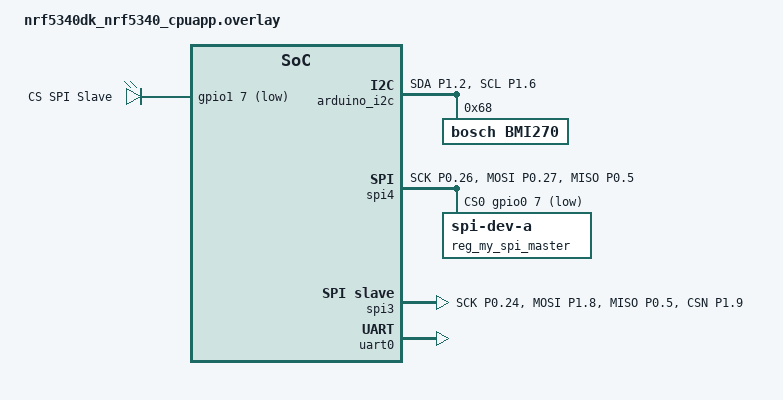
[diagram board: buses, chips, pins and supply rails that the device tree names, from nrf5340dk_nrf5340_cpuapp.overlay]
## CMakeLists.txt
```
#
# Copyright (c) 2021 Bosch Sensortec GmbH
#
# SPDX-License-Identifier: Apache-2.0
#

cmake_minimum_required(VERSION 3.20.0)
find_package(Zephyr REQUIRED HINTS $ENV{ZEPHYR_BASE})
project(bmi270_3)

FILE(GLOB app_sources src/*.c)
target_sources(app PRIVATE ${app_sources})

target_include_directories(app PRIVATE include)
```

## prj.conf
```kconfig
CONFIG_STDOUT_CONSOLE=y
CONFIG_I2C=y
CONFIG_SENSOR=y
CONFIG_CBPRINTF_FP_SUPPORT=y
CONFIG_GPIO=y
CONFIG_LOG=y
CONFIG_LOG_MODE_IMMEDIATE=y


CONFIG_THREAD_NAME=y

CONFIG_LED=y

CONFIG_DK_LIBRARY=y

CONFIG_NRFX_TIMER0=y

CONFIG_BT=y
CONFIG_BT_PERIPHERAL=y
CONFIG_BT_DEVICE_NAME="Gameboy Cartridge"
CONFIG_BT_GATT_CLIENT=y

CONFIG_BT_CENTRAL=y
CONFIG_BT_GATT_DM=y
CONFIG_BT_SCAN=y
CONFIG_BT_SCAN_FILTER_ENABLE=y
CONFIG_BT_SCAN_UUID_CNT=1
CONFIG_BT_MAX_CONN=3

CONFIG_SPI=y
CONFIG_SPI_ASYNC=y

CONFIG_UART_CONSOLE=y
CONFIG_LOG_BACKEND_UART=y


CONFIG_BOARD_ENABLE_DCDC_APP=y
CONFIG_BOARD_ENABLE_DCDC_NET=y
CONFIG_BOARD_ENABLE_DCDC_HV=y

CONFIG_CLOCK_CONTROL_NRF_K32SRC_SYNTH=y
CONFIG_USE_SEGGER_RTT=y
CONFIG_LOG_BACKEND_RTT=y
CONFIG_LOG_BACKEND_RTT_MODE_DROP=y
```

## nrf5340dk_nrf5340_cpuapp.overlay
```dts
&pinctrl {
	spi_master_default: spi_master_default {
		group1 {
			psels = <NRF_PSEL(SPIM_SCK, 0, 26)>,
					<NRF_PSEL(SPIM_MOSI, 0, 27)>,
					<NRF_PSEL(SPIM_MISO, 0,5)>;
		};
	};

	spi_master_sleep: spi_master_sleep {
		group1 {
			psels = <NRF_PSEL(SPIM_SCK, 0, 26)>,
					<NRF_PSEL(SPIM_MOSI, 0, 27)>,
					<NRF_PSEL(SPIM_MISO, 0,5)>;
			low-power-enable;
		};
	};

	spi_slave_default: spi_slave_default {
		group1 {
			psels = <NRF_PSEL(SPIS_SCK, 0, 24)>,
					<NRF_PSEL(SPIS_MOSI, 1, 8)>,
					<NRF_PSEL(SPIS_MISO, 0, 5)>,
					<NRF_PSEL(SPIS_CSN, 1, 9)>;
		};
	};

	spi_slave_sleep: spi_slave_sleep {
		group1 {
			psels = <NRF_PSEL(SPIS_SCK, 0, 24)>,
					<NRF_PSEL(SPIS_MOSI, 1, 8)>,
					<NRF_PSEL(SPIS_MISO, 0, 5)>,
					<NRF_PSEL(SPIS_CSN, 1, 9)>;
			low-power-enable;
		};
	};

	bmi_i2c: bmi_i2c {
		group1 {
			psels = <NRF_PSEL(TWIM_SDA, 1, 2)>,
					<NRF_PSEL(TWIM_SCL, 1, 6)>;
		};
	};

	bmi_i2c_sleep: bmi_i2c_sleep {
		group1 {
			psels = <NRF_PSEL(TWIM_SDA, 1, 2)>,
					<NRF_PSEL(TWIM_SCL, 1, 6)>;
			low-power-enable;
		};
	};
};

&arduino_i2c {
	status = "okay";
	pinctrl-0 = <&bmi_i2c>;
	pinctrl-1 = <&bmi_i2c_sleep>;
	zephyr,concat-buf-size = <257>;
	bmi270@68 {
		compatible = "bosch,bmi270";
		reg = <0x68>;
	};
};

my_spi_master: &spi4 {
	compatible = "nordic,nrf-spim";
	status = "okay";
	pinctrl-0 = <&spi_master_default>;
	pinctrl-1 = <&spi_master_sleep>;
	pinctrl-names = "default", "sleep";
	cs-gpios = <&gpio0 7 GPIO_ACTIVE_LOW>;
	reg_my_spi_master:  spi-dev-a@0 {
		reg = <0>;
	};
};

my_spi_slave: &spi3 {
	compatible = "nordic,nrf-spis";
	status = "okay";
	pinctrl-0 = <&spi_slave_default>;
	pinctrl-1 = <&spi_slave_sleep>;
	pinctrl-names = "default", "sleep";
	def-char = <0x00>;
};

led0: &led0 {
	gpios = <&gpio1 7  GPIO_ACTIVE_LOW>;
	label = "CS SPI Slave";
};

qspi: &qspi {
	status = "disabled";
};

uart0: &uart0 {
	status = "okay";
};
```

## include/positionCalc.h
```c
#include <zephyr/kernel.h>
#include <zephyr/device.h>
#include <zephyr/drivers/sensor.h>
#include <zephyr/drivers/gpio.h>
#include <stdio.h>
#include <math.h>
#include <stdbool.h>
#include <nrfx_timer.h>

#include <zephyr/types.h>
#include <zephyr/bluetooth/bluetooth.h>
#include <zephyr/bluetooth/uuid.h>
#include <zephyr/bluetooth/gatt.h>
#include <zephyr/bluetooth/hci.h>
#include <bluetooth/gatt_dm.h>
#include <bluetooth/scan.h>

#include <stdlib.h>

#include <zephyr/logging/log.h>

#include <zephyr/drivers/spi.h>

#ifndef BMI270_THINGS_H
#define BMI270_THINGS_H

extern float tiltValue;

extern bool nanFlag;

int SetSensorParam(void);

int ObtainPosition(void);

long map(float x, float in_min, float in_max, float out_min, float out_max);

#endif
```

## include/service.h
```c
#include <zephyr/types.h>
#include <zephyr/bluetooth/conn.h>
#include <zephyr/bluetooth/uuid.h>
#include <zephyr/bluetooth/gatt.h>
#include <bluetooth/gatt_dm.h>
/*
This code is loosely based on nus.h and nus_client.h
https://github.com/nrfconnect/sdk-nrf/blob/main/include/bluetooth/services/nus.h
https://github.com/nrfconnect/sdk-nrf/blob/main/include/bluetooth/services/nus_client.h
*/

#ifndef BT_SERVICE_H
#define BT_SERVICE_H

#define BT_UUID_SERVICE_VAL \
    BT_UUID_128_ENCODE(0xdea2ef30,0x9fb4,0x494c,0x9070,0xfd2e40ab523b)
#define BT_UUID_CHRC_TX_VAL \
    BT_UUID_128_ENCODE(0xdea2ef31,0x9fb4,0x494c,0x9070,0xfd2e40ab523b)

#define BT_UUID_CHRC_RX_VAL \
    BT_UUID_128_ENCODE(0xdea2ef32,0x9fb4,0x494c,0x9070,0xfd2e40ab523b)


#define BT_UUID_GB_SERVICE    BT_UUID_DECLARE_128(BT_UUID_SERVICE_VAL)
#define BT_UUID_GB_ATTR_TX BT_UUID_DECLARE_128(BT_UUID_CHRC_TX_VAL)
#define BT_UUID_GB_ATTR_RX BT_UUID_DECLARE_128(BT_UUID_CHRC_RX_VAL)


enum bt_gb_send_status {
	BT_GB_SEND_STATUS_ENABLED,
	BT_GB_SEND_STATUS_DISABLED,
};


//structure used for defining callbacks for peripheral
struct bt_cb {
    void (*received)(struct bt_conn *conn, const uint16_t *const data, uint16_t len);
    void (*sent)(struct bt_conn *conn);
    void (*send_enabled)(enum bt_gb_send_status status);
};

struct bt_gb_client;
//structure used for defining callbacks for central
struct bt_gb_client_cb {
    uint8_t (*received)(struct bt_gb_client *gb, const uint16_t *data, uint16_t len);
    void (*sent)(struct bt_gb_client *gb, uint8_t err, const uint16_t *data, uint16_t len);
    void (*unsubscribed)(struct bt_gb_client *gb);
};
//strucuture used in handle assign process
struct bt_gb_client_handles {

	uint16_t rx;
    uint16_t tx;
	uint16_t tx_ccc;
};

struct bt_gb_client_init_param {
	struct bt_gb_client_cb cb;
};
//structure used in bluetooth central carrying information about attributes on the connected service
struct bt_gb_client {
    struct bt_conn *conn;
    atomic_t state;
    struct bt_gb_client_handles handles;
    struct bt_gatt_subscribe_params tx_notif_params;
    struct bt_gatt_write_params rx_write_params;
    struct bt_gb_client_cb cb;
};
//protoypes of functions in service.c
int bt_gb_init(struct bt_cb *callbacks);

int bt_gb_client_init(struct bt_gb_client *gb, const struct bt_gb_client_init_param *gb_init);

int bt_gb_send(struct bt_conn *conn, const uint16_t *data, uint16_t len);

int bt_gb_write(struct bt_gb_client *gb, const uint16_t *data, uint16_t len);

int bt_gb_handles_assign(struct bt_gatt_dm *dm, struct bt_gb_client *gb);

int bt_gb_subscribe_receive(struct bt_gb_client *gb);

#endif
```

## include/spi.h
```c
#include <zephyr/kernel.h>
#include <zephyr/device.h>
#include <zephyr/drivers/sensor.h>
#include <zephyr/drivers/gpio.h>
#include <stdio.h>
#include <math.h>
#include <stdbool.h>
#include <nrfx_timer.h>

#include <zephyr/types.h>
#include <zephyr/bluetooth/bluetooth.h>
#include <zephyr/bluetooth/uuid.h>
#include <zephyr/bluetooth/gatt.h>
#include <zephyr/bluetooth/hci.h>
#include <bluetooth/gatt_dm.h>
#include <bluetooth/scan.h>

#include <stdlib.h>

#include <zephyr/logging/log.h>

#include <zephyr/drivers/spi.h>

#ifndef SPI_H
#define SPI_H

void spi_init(void);

int spi_write_test_msg(uint8_t ValToSend);

#endif
```

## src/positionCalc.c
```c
#include <zephyr/kernel.h>
#include <zephyr/device.h>
#include <zephyr/drivers/sensor.h>
#include <zephyr/drivers/gpio.h>
#include <stdio.h>
#include <math.h>
#include <stdbool.h>
#include <nrfx_timer.h>
#include "../include/service.h"
#include "../include/spi.h"

#include <zephyr/types.h>
#include <zephyr/bluetooth/bluetooth.h>
#include <zephyr/bluetooth/uuid.h>
#include <zephyr/bluetooth/gatt.h>
#include <zephyr/bluetooth/hci.h>
#include <bluetooth/gatt_dm.h>
#include <bluetooth/scan.h>

#include <stdlib.h>

#include <zephyr/logging/log.h>

#include <zephyr/drivers/spi.h>

/*
* C file for reading and modifying the values from the BMI270
* Initiates the device, reads gyro and accelormeter, then converts it to one of 9
* D-pad direction represented by numbers between 0-10
* Code built upon https://github.com/zephyrproject-rtos/zephyr/tree/main/samples/sensor/bmi270
*/

#define LOG_MODULE_NAME BMI270_things
LOG_MODULE_REGISTER(LOG_MODULE_NAME, LOG_LEVEL_INF);

#define Gravity_const 9.81f

#define Math_Pi 3.14159265358979323846f

#define COMP_FILT_ALPHA 0.05f

#define Sampletime 10.0f

#define MIN_TILT 2.0f

#define MAX_TILT 0.0f

#define MIN_ANGLE 0.2f

#define MAX_ANGLE 1.3f

float phiHat = 0.0f;
float thetaHat = 0.0f;

float tiltValue = MIN_TILT;

bool nanFlag = false;

const struct device *const dev = DEVICE_DT_GET_ONE(bosch_bmi270);
struct sensor_value acc[3], gyr[3];
struct sensor_value full_scale, sampling_freq, oversampling;

//standard arduino map
float map(float x, float in_min, float in_max, float out_min, float out_max)
{
        return (x - in_min) * (out_max - out_min) / (in_max - in_min) + out_min;
}


//convert area of sixe 4 to single uint_8t
int SearchArray(float array[]){
        uint8_t pos=0;
        for(int i = 0; i < 4; i++)
        {
                if(array[i] !=0)
                {
                        pos |= (1 << i);
                        tiltValue = map(array[i],MIN_ANGLE,MAX_ANGLE,MIN_TILT,MAX_TILT);
                }
        }
        return pos;
}

//Converts the phi and theta values calculated to an array representing the
// 4 D-pad directions on the GB
int ConvertToNESW(float phi,float theta)
{
        if (phi > MAX_ANGLE)
        {
                phi = MAX_ANGLE;
        }
        if (phi < -MAX_ANGLE)
        {
                phi = -MAX_ANGLE;
        }
        if (theta > MAX_ANGLE)
        {
                theta = MAX_ANGLE;
        }
        if (theta < -MAX_ANGLE)
        {
                theta = -MAX_ANGLE;
        }

        float N;
        float E;
        float S;
        float W;

        float array[4] = {0.0f, 0.0f, 0.0f, 0.0f};

        if (phi > MIN_ANGLE && fabs(theta) < MIN_ANGLE)
        {
                N = fabs(phi);
                S = 0.0f;
                E = 0.0f;
                W = 0.0f;
        }
        else if(phi < -MIN_ANGLE && fabs(theta) < MIN_ANGLE)
        {
                N=0.0f;
                S = fabs(phi);
                E = 0.0f;
                W = 0.0f;
        }
        else if (theta > MIN_ANGLE && fabs(phi) < MIN_ANGLE)
        {
                N = 0.0f;
                S = 0.0f;
                E = fabs(theta);
                W = 0.0f;
        }
        else if (theta < -MIN_ANGLE && fabs(phi) < MIN_ANGLE)
        {
                N = 0.0f;
                S = 0.0f;
                E = 0.0f;
                W = fabs(theta);
        }


        else if (theta < -MIN_ANGLE && phi < -MIN_ANGLE)
        {
                N = 0.0f;
                S = fabs(phi);
                E = 0.0f;
                W = fabs(theta);
        }
        else if (theta < -MIN_ANGLE && phi > MIN_ANGLE)
        {
                N = fabs(phi);
                S = 0.0f;
                E = 0.0f;
                W = fabs(theta);
        }
        else if (theta > MIN_ANGLE && phi < -MIN_ANGLE)
        {
                N = 0.0f;
                S = fabs(phi);
                E = fabs(theta);
                W = 0.0f;
        }
        else if (theta > MIN_ANGLE && phi > MIN_ANGLE)
        {
                N = fabs(phi);
                S = 0.0f;
                E = fabs(theta);
                W = 0.0f;
        }
        else
        {
                N = 0.0f;
                S = 0.0f;
                E = 0.0f;
                W = 0.0f;
        }

        array[0] = W;
        array[1] = E;
        array[2] = S;
        array[3] = N; 

        return SearchArray(array);
}

//Initiates the BMI270
int SetSensorParam(void)
{
	if (!device_is_ready(dev)) {
		LOG_INF("Device %s is not ready\n", dev->name);
		return 0;
	}

	/* Setting scale in G, due to loss of precision if the SI unit m/s^2
	 * is used
	 */
	full_scale.val1 = 2;            /* G */
	full_scale.val2 = 0;
	sampling_freq.val1 = 100;       /* Hz. Performance mode */
	sampling_freq.val2 = 0;
	oversampling.val1 = 1;          /* Normal mode */
	oversampling.val2 = 0;

	sensor_attr_set(dev, SENSOR_CHAN_ACCEL_XYZ, SENSOR_ATTR_FULL_SCALE,
			&full_scale);
	sensor_attr_set(dev, SENSOR_CHAN_ACCEL_XYZ, SENSOR_ATTR_OVERSAMPLING,
			&oversampling);
	/* Set sampling frequency last as this also sets the appropriate
	 * power mode. If already sampling, change to 0.0Hz before changing
	 * other attributes
	 */
	sensor_attr_set(dev, SENSOR_CHAN_ACCEL_XYZ,
			SENSOR_ATTR_SAMPLING_FREQUENCY,
			&sampling_freq);


	/* Setting scale in degrees/s to match the sensor scale */
	full_scale.val1 = 500;          /* dps */
	full_scale.val2 = 0;
	sampling_freq.val1 = 100;       /* Hz. Performance mode */
	sampling_freq.val2 = 0;
	oversampling.val1 = 1;          /* Normal mode */
	oversampling.val2 = 0;

	sensor_attr_set(dev, SENSOR_CHAN_GYRO_XYZ, SENSOR_ATTR_FULL_SCALE,
			&full_scale);
	sensor_attr_set(dev, SENSOR_CHAN_GYRO_XYZ, SENSOR_ATTR_OVERSAMPLING,
			&oversampling);
	/* Set sampling frequency last as this also sets the appropriate
	 * power mode. If already sampling, change sampling frequency to
	 * 0.0Hz before changing other attributes
	 */
	sensor_attr_set(dev, SENSOR_CHAN_GYRO_XYZ,
			SENSOR_ATTR_SAMPLING_FREQUENCY,
			&sampling_freq);
}

/7Reads data fro the BMI270 and converts using a complementary filter
int ObtainPosition(void)
{
        sensor_sample_fetch(dev);

        sensor_channel_get(dev, SENSOR_CHAN_ACCEL_XYZ, acc);
        sensor_channel_get(dev, SENSOR_CHAN_GYRO_XYZ, gyr);

        //conversion formula from sensor.h definition
        float ax = (acc[0].val1+acc[0].val2*1e-6);
        float ay = (acc[1].val1+acc[1].val2*1e-6);
        float az = (acc[2].val1+acc[2].val2*1e-6);

        //to ensure no Nan's being produced by atanf and asinf
        if(ax <= -9.80)
        {
                ax = -9.80;
        }
        if(ax >= 9.80)
        {
                ax = 9.80;
        }

        if(az == 0)
        {
                az = 0.01;
        }
        //Estimation of the angle using the accelerometer values
        //Theoretical proof and code from https://www.youtube.com/watch?v=BUW2OdAtzBw

        float phiHat_acc_g = atanf(ay/az);
        float thetaHat_acc_g = asinf(ax/Gravity_const);

	 //to ensure no Nan's being produced by tanf
        if(thetaHat_acc_g >= Math_Pi/2)
        {
                thetaHat_acc_g = Math_Pi/2-0.007f;
        }

        if(thetaHat_acc_g <= -Math_Pi/2)
        {
                thetaHat_acc_g = -Math_Pi/2+0.007f;
        }

        //Gyroscope values
        float gx = (gyr[0].val1+gyr[0].val2*1e-6);
        float gy = (gyr[1].val1+gyr[1].val2*1e-6);
        float gz = (gyr[2].val1+gyr[2].val2*1e-6);


        float phiDot_rps = gx + tanf(thetaHat_acc_g) * (sinf(phiHat_acc_g) * gy + cosf(phiHat_acc_g) * gz);
        float thetaDot_rps = cosf(phiHat_acc_g) * gy - sinf(phiHat_acc_g) * gz;

        //Complementary filter
        phiHat = COMP_FILT_ALPHA * phiHat_acc_g + (1.0f - COMP_FILT_ALPHA) * (phiHat + (Sampletime / 1000.0f) * phiDot_rps);
        thetaHat = COMP_FILT_ALPHA * thetaHat_acc_g + (1.0f - COMP_FILT_ALPHA) * (thetaHat + (Sampletime/1000.0f) * thetaDot_rps);

        if (isnan(phiHat) || isnan(thetaHat))
        {
                nanFlag = true;
        }
        return ConvertToNESW(phiHat,thetaHat);
                           
}
```

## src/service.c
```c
#include <zephyr/bluetooth/conn.h>
#include <zephyr/bluetooth/uuid.h>
#include <zephyr/bluetooth/gatt.h>
#include <bluetooth/gatt_dm.h>
#include "../include/service.h"
#include <zephyr/logging/log.h>
#include <zephyr/kernel.h>
#include <zephyr/device.h>
#include <zephyr/drivers/sensor.h>
#include <zephyr/drivers/gpio.h>
#include <stdio.h>
#include <math.h>
#include <stdbool.h>
#include <nrfx_timer.h>
/*
This file includes the bluetooth code not included in main.c
The code is loosely based on Nordic NUS library, nus.c and nus_client.c
https://github.com/nrfconnect/sdk-nrf/blob/main/subsys/bluetooth/services/nus.c
https://github.com/nrfconnect/sdk-nrf/blob/main/subsys/bluetooth/services/nus_client.c
*/
LOG_MODULE_REGISTER(bt_gb, LOG_LEVEL_INF);

static struct bt_cb gb_cb;

enum {
	GB_C_INITIALIZED,
	GB_C_TX_NOTIF_ENABLED,
	GB_C_RX_WRITE_PENDING
};


//callback function for received data on central
static uint8_t on_received(struct bt_conn *conn, struct bt_gatt_subscribe_params *params, const void *data, uint16_t length)
{
    struct bt_gb_client *gb;
    
    gb = CONTAINER_OF(params, struct bt_gb_client, tx_notif_params);

    if (!data) {
        LOG_DBG("Unsubscribed");
        params->value_handle = 0;
        atomic_clear_bit(&gb->state, GB_C_TX_NOTIF_ENABLED);
        if (gb->cb.unsubscribed) {
            gb->cb.unsubscribed(gb);
        }
        return BT_GATT_ITER_STOP;
    }
    LOG_DBG("notification data %p length %u", data, length);
    if (gb->cb.received) {
        return gb->cb.received(gb, data, length);
    }

    return BT_GATT_ITER_CONTINUE;
}
//
static void gb_ccc_cfg_changed(const struct bt_gatt_attr *attr, 
                                            uint16_t value)
{
    if(gb_cb.send_enabled){
        LOG_DBG("Notification has been turned on %s", value = BT_GATT_CCC_NOTIFY ? "on" : "off");
        gb_cb.send_enabled(value == BT_GATT_CCC_NOTIFY ?
			BT_GB_SEND_STATUS_ENABLED : BT_GB_SEND_STATUS_DISABLED);
    }
}
//callback function for receive on peripheral
static ssize_t on_receive(struct bt_conn *conn,
			  const struct bt_gatt_attr *attr,
			  const void *buf,
			  uint16_t len,
			  uint16_t offset,
			  uint8_t flags)
{
	LOG_INF("Received data, handle %d, conn %p",
		attr->handle, (void *)conn);

	if (gb_cb.received) {
		gb_cb.received(conn, buf, len);
}
	return len;
}
//callback function for send on peripheral
static void on_sent(struct bt_conn *conn, void *user_data)
{
    LOG_DBG("Data send, conn %p", (void *)conn);

    if(gb_cb.sent){
        gb_cb.sent(conn);
    }
}
//callback function for write operation for central.
static void on_write(struct bt_conn *conn, uint8_t err, struct bt_gatt_write_params *params)
{
    struct bt_gb_client *gb;
    const void *data;
    uint16_t length;

    gb = CONTAINER_OF(params, struct bt_gb_client, rx_write_params);

    data = params->data;
    length = params->length;

    atomic_clear_bit(&gb->state, GB_C_RX_WRITE_PENDING);
    if (gb->cb.sent) {
        gb->cb.sent(gb, err, data, length);
    }
}

//Service definition
BT_GATT_SERVICE_DEFINE(gameboy_service,
BT_GATT_PRIMARY_SERVICE(BT_UUID_GB_SERVICE),
        BT_GATT_CHARACTERISTIC(BT_UUID_GB_ATTR_TX,
                               BT_GATT_CHRC_NOTIFY,
                               BT_GATT_PERM_READ,
                               NULL, NULL, NULL),
        BT_GATT_CCC(gb_ccc_cfg_changed,
                    BT_GATT_PERM_READ | BT_GATT_PERM_WRITE),
        BT_GATT_CHARACTERISTIC(BT_UUID_GB_ATTR_RX,
                              BT_GATT_CHRC_WRITE | BT_GATT_CHRC_WRITE_WITHOUT_RESP,
                              BT_GATT_PERM_READ | BT_GATT_PERM_WRITE,
                              NULL, on_receive, NULL),
);

//callback initiation for peripheral
int bt_gb_init(struct bt_cb *callbacks)
{
    if(callbacks){
        gb_cb.received = callbacks->received;
        gb_cb.sent = callbacks->sent;
        gb_cb.send_enabled = callbacks->send_enabled;
    }
    return 0;
}
//callback init for central
int bt_gb_client_init(struct bt_gb_client *gb, const struct bt_gb_client_init_param *gb_init)
{
    if (!gb || !gb_init) {
		return -EINVAL;
	}

	if (atomic_test_and_set_bit(&gb->state, GB_C_INITIALIZED)) {
		return -EALREADY;
	}

	memcpy(&gb->cb, &gb_init->cb, sizeof(gb->cb));

	return 0;
}

//Notify operation function for peripheral
int bt_gb_send(struct bt_conn *conn, const uint16_t *data, uint16_t len)
{
    struct bt_gatt_notify_params params = {0};
    const struct bt_gatt_attr *attr = &gameboy_service.attrs[2];

    params.attr = attr;
    params.data = data;
    params.len = len;
    params.func = on_sent;


    if (!conn) {
		LOG_DBG("Notification send to all connected peers");
		return bt_gatt_notify_cb(NULL, &params);
	} else if (bt_gatt_is_subscribed(conn, attr, BT_GATT_CCC_NOTIFY)) {
		return bt_gatt_notify_cb(conn, &params);
    } else {
        return -EINVAL;
    }
}
//Write operation function for central
int bt_gb_write(struct bt_gb_client *gb, const uint16_t *data, uint16_t len)
{
    int err;

    gb->rx_write_params.func = on_write;
    gb->rx_write_params.handle = gb->handles.rx;
    gb->rx_write_params.offset = 0;
    gb->rx_write_params.data = data;
    gb->rx_write_params.length = len;


    err = bt_gatt_write(gb->conn, &gb->rx_write_params);
    if (err) {
        LOG_INF("Failed to send, reason(%d)", err);
        atomic_clear_bit(&gb->state, GB_C_RX_WRITE_PENDING);
    }
    return err;
}
//Function assinging attributes handles for central, runs during service discovery.
int bt_gb_handles_assign(struct bt_gatt_dm *dm, struct bt_gb_client *gb)
{
    const struct bt_gatt_dm_attr *gatt_service_attr = bt_gatt_dm_service_get(dm);
    const struct bt_gatt_service_val *gatt_service = bt_gatt_dm_attr_service_val(gatt_service_attr);
    const struct bt_gatt_dm_attr *gatt_chrc;
    const struct bt_gatt_dm_attr *gatt_desc;

    LOG_INF("bt_gb_handles_assign");

    if (bt_uuid_cmp(gatt_service->uuid, BT_UUID_GB_SERVICE)) {
        return -ENOTSUP;
    }
    LOG_DBG("Getting handles from GameBoy service.");
    memset(&gb->handles, 0xFF, sizeof(gb->handles));

    gatt_chrc = bt_gatt_dm_char_by_uuid(dm, BT_UUID_GB_ATTR_TX);
    if (!gatt_chrc) {
        LOG_ERR("Missing GameBoy TX characteristic.");
        return -EINVAL;
    }

    gatt_desc = bt_gatt_dm_desc_by_uuid(dm, gatt_chrc, BT_UUID_GB_ATTR_TX);
    if (!gatt_desc) {
        LOG_ERR("Missing GameBoy TX value descriptor in characteristic.");
        return -EINVAL;
    }
    LOG_DBG("Found handle for GameBoy Tx characteristic.");
    gb->handles.tx = gatt_desc->handle;

    gatt_desc = bt_gatt_dm_desc_by_uuid(dm, gatt_chrc, BT_UUID_GATT_CCC);
    if (!gatt_desc) {
        LOG_ERR("Missing GameBoy TX CCC in characteristic.");
        return -EINVAL;
    }
    LOG_DBG("Found handle for CCC of GameBoy TX characteristic.");
    gb->handles.tx_ccc = gatt_desc->handle;

    gatt_chrc = bt_gatt_dm_char_by_uuid(dm, BT_UUID_GB_ATTR_RX);
    if(!gatt_chrc) {
        LOG_ERR("Missing GameBoy RX characteristic.");
        return -EINVAL;
    }
    gatt_desc = bt_gatt_dm_desc_by_uuid(dm, gatt_chrc, BT_UUID_GB_ATTR_RX);
    if(!gatt_desc) {
        LOG_ERR("Missing GameBoy RX value descriptor in characteristic.");
        return -EINVAL;
    }
    LOG_DBG("Found handle for GameBoy RX characteristic");
    gb->handles.rx = gatt_desc->handle;

    gb->conn = bt_gatt_dm_conn_get(dm);
    return 0;
}
//subsrice to attribute function for central
int bt_gb_subscribe_receive(struct bt_gb_client *gb)
{
    LOG_INF("bt_gb_subscribe_receive");
    int err;

    if (atomic_test_and_set_bit(&gb->state, GB_C_TX_NOTIF_ENABLED)) {
        return -EALREADY;
    }

    gb->tx_notif_params.notify = on_received;
    gb->tx_notif_params.value = BT_GATT_CCC_NOTIFY;
    gb->tx_notif_params.value_handle = gb->handles.tx;
    gb->tx_notif_params.ccc_handle = gb->handles.tx_ccc;
    atomic_set_bit(gb->tx_notif_params.flags, BT_GATT_SUBSCRIBE_FLAG_VOLATILE);

    err = bt_gatt_subscribe(gb->conn, &gb->tx_notif_params);
    if (err) {
        LOG_ERR("Subscribe failed (err %d)", err);
        atomic_clear_bit(&gb->state, GB_C_TX_NOTIF_ENABLED);
    }   else {
        LOG_INF("Subscribed to: %u", gb->tx_notif_params.value_handle);
    }
    LOG_INF("done");

    return err;
}
```

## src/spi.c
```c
#include <zephyr/kernel.h>
#include <zephyr/device.h>
#include <zephyr/drivers/sensor.h>
#include <zephyr/drivers/gpio.h>
#include <stdio.h>
#include <math.h>
#include <stdbool.h>
#include <nrfx_timer.h>
#include "../include/service.h"

#include <zephyr/types.h>
#include <zephyr/bluetooth/bluetooth.h>
#include <zephyr/bluetooth/uuid.h>
#include <zephyr/bluetooth/gatt.h>
#include <zephyr/bluetooth/hci.h>
#include <bluetooth/gatt_dm.h>
#include <bluetooth/scan.h>

#include <stdlib.h>

#include <zephyr/logging/log.h>

#include <zephyr/drivers/spi.h>

/*
* C file initiating and driving the SPI maste on the nRF5340
* Send data decided in main using tranceive 
* Code built on: https://github.com/too1/ncs-spi-master-slave-example
*/

#define LOG_MODULE_NAME SPI_COMS
LOG_MODULE_REGISTER(LOG_MODULE_NAME, LOG_LEVEL_INF);

#define MY_SPI_MASTER DT_NODELABEL(my_spi_master)
#define MY_SPI_MASTER_CS_DT_SPEC SPI_CS_GPIOS_DT_SPEC_GET(DT_NODELABEL(reg_my_spi_master))



const struct device *spi_dev;
static struct k_poll_signal spi_done_sig = K_POLL_SIGNAL_INITIALIZER(spi_done_sig);

//SPI initiation function
void spi_init(void)
{
	spi_dev = DEVICE_DT_GET(MY_SPI_MASTER);
	if(!device_is_ready(spi_dev)) {
		LOG_INF("SPI master device not ready!\n");
	}
	struct gpio_dt_spec spim_cs_gpio = MY_SPI_MASTER_CS_DT_SPEC;
	if(!device_is_ready(spim_cs_gpio.port)){
		LOG_INF("SPI master chip select device not ready!\n");
	}
}

static struct spi_config spi_cfg = {
	.operation = SPI_OP_MODE_MASTER | SPI_TRANSFER_MSB | SPI_WORD_SET(8),
	.frequency = 125000,
	.slave = 0,
	.cs = NULL,
};

// Spi write function
int spi_write_test_msg(uint8_t ValToSend)
{
	static uint8_t tx_buffer[1];
	static uint8_t rx_buffer[1]={1};

	const struct spi_buf tx_buf = {
		.buf = tx_buffer,
		.len = sizeof(tx_buffer)
	};
	const struct spi_buf_set tx = {
		.buffers = &tx_buf,
		.count = 1
	};

	struct spi_buf rx_buf = {
		.buf = rx_buffer,
		.len = sizeof(rx_buffer),
	};
	const struct spi_buf_set rx = {
		.buffers = &rx_buf,
		.count = 1
	};

        tx_buffer[0] = ValToSend;
	
	// Reset signal
	k_poll_signal_reset(&spi_done_sig);
	
	// Start transaction
	int error = spi_transceive_signal(spi_dev, &spi_cfg, &tx, &rx, &spi_done_sig);
	if(error != 0){
		LOG_INF("SPI transceive error: %i\n", error);
		return error;
	}

        //LOG_INF("SPI TX: 0x%.2x\n", tx_buffer[0]);

	 //Wait for the done signal to be raised and log the rx buffer
	int spi_signaled, spi_result;
	do{
		k_poll_signal_check(&spi_done_sig, &spi_signaled, &spi_result);
	} while(spi_signaled == 0);
	//LOG_INF("SPI RX: 0x%.2x\n", rx_buffer[0]);
	return rx_buffer[0];
}
```
